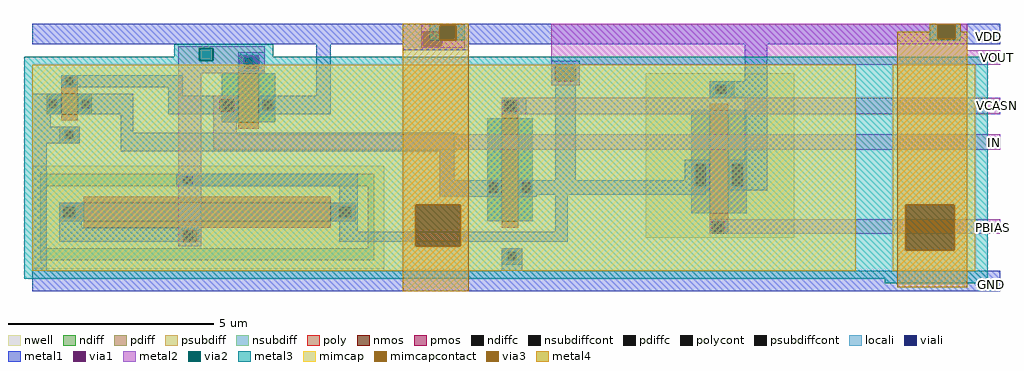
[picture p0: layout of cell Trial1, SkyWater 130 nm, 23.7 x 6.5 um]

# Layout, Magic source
magic
tech sky130A
magscale 1 2
<< nwell >>
rect 200 -190 1910 310
rect 3180 -40 3900 760
<< nmos >>
rect 340 560 420 660
rect 1200 520 1300 760
rect 2480 40 2560 540
<< pmos >>
rect 450 40 1650 130
rect 3490 80 3580 580
<< ndiff >>
rect 270 630 340 660
rect 270 590 280 630
rect 320 590 340 630
rect 270 560 340 590
rect 420 630 490 660
rect 420 590 440 630
rect 480 590 490 630
rect 420 560 490 590
rect 1120 630 1200 760
rect 1120 580 1130 630
rect 1180 580 1200 630
rect 1120 520 1200 580
rect 1300 630 1380 760
rect 1300 580 1320 630
rect 1372 580 1380 630
rect 1300 520 1380 580
rect 2410 230 2480 540
rect 2410 180 2420 230
rect 2460 180 2480 230
rect 2410 40 2480 180
rect 2560 230 2630 540
rect 2560 180 2580 230
rect 2620 180 2630 230
rect 2560 40 2630 180
<< pdiff >>
rect 330 110 450 130
rect 330 60 350 110
rect 410 60 450 110
rect 330 40 450 60
rect 1650 110 1770 130
rect 1650 60 1690 110
rect 1750 60 1770 110
rect 1650 40 1770 60
rect 3400 320 3490 580
rect 3400 210 3420 320
rect 3470 210 3490 320
rect 3400 80 3490 210
rect 3580 320 3670 580
rect 3580 210 3600 320
rect 3650 210 3670 320
rect 3580 80 3670 210
<< ndiffc >>
rect 280 590 320 630
rect 440 590 480 630
rect 1130 580 1180 630
rect 1320 580 1372 630
rect 2420 180 2460 230
rect 2580 180 2620 230
<< pdiffc >>
rect 350 60 410 110
rect 1690 60 1750 110
rect 3420 210 3470 320
rect 3600 210 3650 320
<< psubdiff >>
rect 330 480 430 500
rect 330 440 360 480
rect 400 440 430 480
rect 330 420 430 440
rect 2480 -110 2580 -90
rect 2480 -150 2510 -110
rect 2550 -150 2580 -110
rect 2480 -170 2580 -150
<< nsubdiff >>
rect 3490 700 3610 720
rect 3490 660 3520 700
rect 3570 660 3610 700
rect 3490 640 3610 660
rect 240 260 1860 270
rect 240 220 930 260
rect 980 220 1860 260
rect 240 210 1860 220
rect 240 -90 270 210
rect 1830 -90 1860 210
rect 240 -150 1860 -90
<< psubdiffcont >>
rect 360 440 400 480
rect 2510 -150 2550 -110
<< nsubdiffcont >>
rect 3520 660 3570 700
rect 930 220 980 260
<< poly >>
rect 1200 840 1300 850
rect 1200 800 1230 840
rect 1270 800 1300 840
rect 1200 760 1300 800
rect 340 740 420 750
rect 340 700 360 740
rect 400 700 420 740
rect 340 660 420 700
rect 340 530 420 560
rect 2480 620 2560 630
rect 2480 580 2500 620
rect 2540 580 2560 620
rect 3490 580 3580 610
rect 2480 540 2560 580
rect 1200 490 1300 520
rect 450 130 1650 160
rect 450 10 1650 40
rect 910 -10 1010 10
rect 910 -50 940 -10
rect 980 -50 1010 -10
rect 910 -60 1010 -50
rect 2480 10 2560 40
rect 3490 30 3580 80
rect 3490 -10 3510 30
rect 3550 -10 3580 30
rect 3490 -20 3580 -10
<< polycont >>
rect 1230 800 1270 840
rect 360 700 400 740
rect 2500 580 2540 620
rect 940 -50 980 -10
rect 3510 -10 3550 30
<< locali >>
rect 1200 840 1300 850
rect 1200 800 1230 840
rect 1270 800 1300 840
rect 340 740 420 750
rect 340 700 360 740
rect 400 700 420 740
rect 280 630 340 660
rect 320 590 340 630
rect 280 560 340 590
rect 420 630 480 660
rect 420 590 440 630
rect 420 560 480 590
rect 1120 630 1200 760
rect 1120 580 1130 630
rect 1180 580 1200 630
rect 1120 520 1200 580
rect 1300 630 1380 760
rect 3490 700 3610 720
rect 3490 660 3520 700
rect 3570 660 3610 700
rect 3490 640 3610 660
rect 1300 580 1320 630
rect 1372 580 1380 630
rect 2480 620 2560 630
rect 2480 580 2500 620
rect 2540 580 2560 620
rect 1300 520 1380 580
rect 330 480 430 500
rect 330 440 360 480
rect 400 440 430 480
rect 330 420 430 440
rect 900 260 1020 270
rect 900 220 930 260
rect 980 220 1020 260
rect 900 210 1020 220
rect 2410 230 2480 540
rect 2410 180 2420 230
rect 2460 180 2480 230
rect 330 110 450 130
rect 330 60 350 110
rect 410 60 450 110
rect 330 40 450 60
rect 1650 110 1770 130
rect 1650 60 1690 110
rect 1750 60 1770 110
rect 1650 40 1770 60
rect 2410 40 2480 180
rect 2560 230 2630 540
rect 2560 180 2580 230
rect 2620 180 2630 230
rect 2560 40 2630 180
rect 3400 320 3490 580
rect 3400 210 3420 320
rect 3470 210 3490 320
rect 3400 80 3490 210
rect 3580 320 3670 580
rect 3580 210 3600 320
rect 3650 210 3670 320
rect 3580 80 3670 210
rect 3490 30 3580 40
rect 910 -10 1010 10
rect 910 -50 940 -10
rect 980 -50 1010 -10
rect 3490 -10 3510 30
rect 3550 -10 3580 30
rect 3490 -20 3580 -10
rect 910 -60 1010 -50
rect 2480 -110 2580 -90
rect 2480 -150 2510 -110
rect 2550 -150 2580 -110
rect 2480 -170 2580 -150
<< viali >>
rect 1230 800 1270 840
rect 360 700 400 740
rect 280 590 320 630
rect 440 590 480 630
rect 1130 580 1180 630
rect 3520 660 3570 700
rect 1320 580 1370 630
rect 2500 580 2540 620
rect 360 440 400 480
rect 930 220 980 260
rect 2420 180 2460 230
rect 350 60 410 110
rect 1690 60 1750 110
rect 2580 180 2620 230
rect 3420 210 3470 320
rect 3600 210 3650 320
rect 940 -50 980 -10
rect 3510 -10 3550 30
rect 2510 -150 2550 -110
<< metal1 >>
rect 200 960 4900 1000
rect 200 900 2100 960
rect 1200 840 1330 860
rect 1200 780 1230 840
rect 1300 780 1330 840
rect 1200 770 1330 780
rect 340 740 930 750
rect 340 700 360 740
rect 400 700 930 740
rect 340 690 930 700
rect 200 630 340 660
rect 200 590 280 630
rect 320 590 340 630
rect 200 560 340 590
rect 420 630 690 660
rect 420 590 440 630
rect 480 590 690 630
rect 420 560 690 590
rect 860 650 930 690
rect 1580 650 1650 900
rect 2000 890 2100 900
rect 2190 900 4900 960
rect 2190 890 2320 900
rect 2000 870 2320 890
rect 2720 800 2860 820
rect 2720 720 2740 800
rect 2840 720 2860 800
rect 3660 720 3770 900
rect 2720 700 2860 720
rect 3490 700 3770 720
rect 860 632 1200 650
rect 860 573 1111 632
rect 1181 573 1200 632
rect 860 560 1200 573
rect 1300 630 1650 650
rect 1300 580 1320 630
rect 1370 580 1650 630
rect 1300 560 1650 580
rect 2480 630 2600 640
rect 2480 570 2490 630
rect 2550 570 2600 630
rect 2480 560 2600 570
rect 200 500 290 560
rect 200 480 430 500
rect 200 440 360 480
rect 400 440 430 480
rect 200 420 430 440
rect 630 470 690 560
rect 200 -200 270 420
rect 630 380 2250 470
rect 900 260 1780 270
rect 900 220 930 260
rect 980 220 1780 260
rect 900 210 1780 220
rect 1690 130 1780 210
rect 2180 240 2250 380
rect 2740 240 2840 700
rect 3490 660 3520 700
rect 3570 660 3770 700
rect 3490 640 3770 660
rect 3660 340 3770 640
rect 3370 320 3490 340
rect 3370 240 3420 320
rect 2180 230 2480 240
rect 2180 180 2420 230
rect 2460 180 2480 230
rect 2180 160 2480 180
rect 2560 230 3420 240
rect 2560 180 2580 230
rect 2620 210 3420 230
rect 3470 210 3490 320
rect 2620 190 3490 210
rect 3580 320 3770 340
rect 3580 210 3600 320
rect 3650 210 3770 320
rect 3580 190 3770 210
rect 2620 180 3470 190
rect 2560 170 3470 180
rect 2560 160 2650 170
rect 330 110 450 130
rect 330 60 350 110
rect 410 60 450 110
rect 330 40 450 60
rect 1650 110 1780 130
rect 1650 60 1690 110
rect 1750 60 1780 110
rect 1650 40 1780 60
rect 330 10 440 40
rect 330 0 1010 10
rect 330 -60 930 0
rect 1000 -60 1010 0
rect 1690 -10 1780 40
rect 2740 -10 2800 170
rect 1690 -60 2800 -10
rect 3490 -20 3500 40
rect 3560 -20 3580 40
rect 2480 -110 2580 -90
rect 2480 -150 2510 -110
rect 2550 -150 2580 -110
rect 2480 -200 2580 -150
rect 200 -300 4900 -200
<< via1 >>
rect 1230 800 1270 840
rect 1270 800 1300 840
rect 1230 780 1300 800
rect 2100 890 2190 960
rect 2740 720 2840 800
rect 1111 630 1181 632
rect 1111 580 1130 630
rect 1130 580 1180 630
rect 1180 580 1181 630
rect 1111 573 1181 580
rect 2490 620 2550 630
rect 2490 580 2500 620
rect 2500 580 2540 620
rect 2540 580 2550 620
rect 2490 570 2550 580
rect 930 -10 1000 0
rect 930 -50 940 -10
rect 940 -50 980 -10
rect 980 -50 1000 -10
rect 930 -60 1000 -50
rect 3500 30 3560 40
rect 3500 -10 3510 30
rect 3510 -10 3550 30
rect 3550 -10 3560 30
rect 3500 -20 3560 -10
<< metal2 >>
rect 2090 990 2300 1000
rect 2090 960 2180 990
rect 2090 890 2100 960
rect 2250 930 2300 990
rect 2190 890 2300 930
rect 910 880 1330 890
rect 2090 880 2300 890
rect 2720 990 4740 1000
rect 2720 930 4600 990
rect 4680 930 4740 990
rect 910 820 1010 880
rect 1080 840 1330 880
rect 1080 820 1230 840
rect 910 780 1230 820
rect 1300 780 1330 840
rect 910 760 1330 780
rect 2720 870 4740 930
rect 2720 800 4900 870
rect 910 0 1020 760
rect 2720 720 2740 800
rect 2840 720 2860 800
rect 2720 700 2860 720
rect 1080 632 1193 650
rect 1080 573 1111 632
rect 1181 573 1193 632
rect 1080 464 1193 573
rect 2480 630 4900 640
rect 2480 570 2490 630
rect 2550 570 4900 630
rect 2480 560 4900 570
rect 1079 387 4900 464
rect 910 -60 930 0
rect 1000 -60 1020 0
rect 3490 40 4900 50
rect 3490 -20 3500 40
rect 3560 -20 4900 40
rect 910 -80 1020 -60
<< via2 >>
rect 2180 960 2250 990
rect 2180 930 2190 960
rect 2190 930 2250 960
rect 4600 930 4680 990
rect 1010 820 1080 880
<< metal3 >>
rect 2130 990 2300 1000
rect 2130 920 2180 990
rect 2260 920 2300 990
rect 4560 994 4710 1000
rect 4560 926 4598 994
rect 4682 926 4710 994
rect 4560 920 4710 926
rect 890 880 1370 900
rect 890 840 1010 880
rect 160 820 1010 840
rect 1080 840 1370 880
rect 1080 820 4840 840
rect 160 -240 4840 820
rect 4340 -260 4840 -240
<< via3 >>
rect 2180 930 2250 990
rect 2250 930 2260 990
rect 2180 920 2260 930
rect 4598 990 4682 994
rect 4598 930 4600 990
rect 4600 930 4680 990
rect 4680 930 4682 990
rect 4598 926 4682 930
<< mimcap >>
rect 200 120 4200 800
rect 200 -80 2060 120
rect 2280 -80 4200 120
rect 200 -200 4200 -80
rect 4380 120 4780 800
rect 4380 -100 4440 120
rect 4680 -100 4780 120
rect 4380 -200 4780 -100
<< mimcapcontact >>
rect 2060 -80 2280 120
rect 4440 -100 4680 120
<< metal4 >>
rect 2000 990 2320 1000
rect 2000 920 2180 990
rect 2260 920 2320 990
rect 4560 994 4710 1000
rect 4560 960 4598 994
rect 2000 120 2320 920
rect 2000 -80 2060 120
rect 2280 -80 2320 120
rect 2000 -300 2320 -80
rect 4400 926 4598 960
rect 4682 960 4710 994
rect 4682 926 4740 960
rect 4400 120 4740 926
rect 4400 -100 4440 120
rect 4680 -100 4740 120
rect 4400 -280 4740 -100
<< labels >>
rlabel metal1 4845 937 4845 937 1 VDD
rlabel metal1 4860 -266 4860 -266 1 GND
rlabel metal2 4886 836 4886 836 1 VOUT
rlabel metal2 4886 600 4887 601 1 VCASN
rlabel metal2 4875 423 4875 423 1 IN
rlabel metal2 4870 10 4870 10 1 PBIAS
<< end >>
